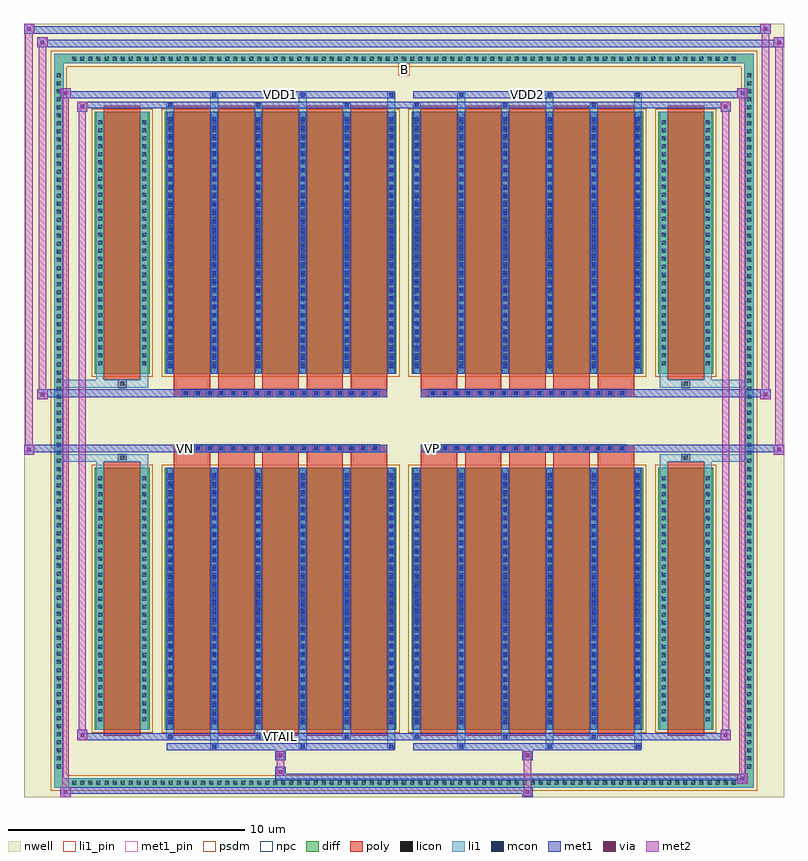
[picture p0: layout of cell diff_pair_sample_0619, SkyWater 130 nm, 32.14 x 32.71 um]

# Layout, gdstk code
import gdstk
lib = gdstk.Library(unit=1e-6, precision=5e-09)
def R(c, l, rs):  # rectangles x0, y0, x1, y1
    for r in rs: c.add(gdstk.rectangle(r[:2], r[2:], *l))
def A(c, l, x, y, w, h, nx, ny, dx, dy):  # array of equal rectangles
    R(c, l, [(x+i*dx, y+j*dy, x+i*dx+w, y+j*dy+h) for i in range(nx) for j in range(ny)])
def P(c, l, *ps):  # polygons
    for p in ps: c.add(gdstk.Polygon(p, *l))
nwell = (64, 20)
diff = (65, 20)
poly = (66, 20)
licon = (66, 44)
li1_pin = (67, 16)
li1 = (67, 20)
mcon = (67, 44)
met1_pin = (68, 16)
met1 = (68, 20)
via = (68, 44)
met2 = (69, 20)
psdm = (94, 20)
npc = (95, 20)

diff_pair_sample_0619 = lib.new_cell('diff_pair_sample_0619')
R(diff_pair_sample_0619, nwell, [(-16.07,-15.92,16.07,16.79), (-13.39,-14.11,-0.01,-0.805), (0.01,-14.11,13.39,-0.805), (-13.39,0.805,-0.01,14.11), (0.01,0.805,13.39,14.11)])
A(diff_pair_sample_0619, diff, -14.145, -15.52, 0.41, 0.41, 83, 2, 0.34, 30.63)
A(diff_pair_sample_0619, diff, -14.8, -14.825, 0.41, 0.41, 1, 87, 0, 0.34)
A(diff_pair_sample_0619, diff, 14.39, -14.825, 0.41, 0.41, 1, 87, 0, 0.34)
R(diff_pair_sample_0619, diff, [(-14.145,-15.52,14.145,-15.11), (-14.8,-14.825,-14.39,14.825), (14.39,-14.825,14.8,14.825), (-13.08,-13.065,-10.76,-1.985), (-10.12,-13.065,-0.32,-1.985), (0.32,-13.065,10.12,-1.985), (10.76,-13.065,13.08,-1.985), (-13.08,1.985,-10.76,13.065), (-10.12,1.985,-0.32,13.065), (0.32,1.985,10.12,13.065), (10.76,1.985,13.08,13.065), (-14.145,15.11,14.145,15.52)])
P(diff_pair_sample_0619, diff, [(14.8,15.52),(-14.8,15.52),(-14.8,-15.11),(-14.39,-15.11),(-14.39,15.11),(14.39,15.11),(14.39,-15.11),(-14.39,-15.11),(-14.8,-15.11),(-14.8,-15.52),(14.8,-15.52)])
A(diff_pair_sample_0619, poly, -9.73, -13.315, 1.54, 11.58, 5, 2, 1.87, 15.05)
A(diff_pair_sample_0619, poly, 0.71, -13.315, 1.54, 11.58, 5, 2, 1.87, 15.05)
A(diff_pair_sample_0619, poly, -9.73, -1.735, 1.54, 0.4, 5, 2, 1.87, 3.07)
A(diff_pair_sample_0619, poly, 0.71, -1.735, 1.54, 0.4, 5, 2, 1.87, 3.07)
A(diff_pair_sample_0619, poly, -9.385, -1.335, 0.33, 0.33, 17, 2, 0.5, 2.34)
A(diff_pair_sample_0619, poly, 1.055, -1.335, 0.33, 0.33, 17, 2, 0.5, 2.34)
R(diff_pair_sample_0619, poly, [(-12.69,-13.315,-11.15,-1.735), (11.15,-13.315,12.69,-1.735), (-12.085,-1.735,-11.755,-1.405), (-12.085,-1.735,-11.755,-1.405), (11.755,-1.735,12.085,-1.405), (11.755,-1.735,12.085,-1.405), (-9.73,-1.335,-0.71,-1.005), (0.71,-1.335,9.73,-1.005), (-9.73,1.005,-0.71,1.335), (0.71,1.005,9.73,1.335), (-12.085,1.405,-11.755,1.735), (-12.085,1.405,-11.755,1.735), (11.755,1.405,12.085,1.735), (11.755,1.405,12.085,1.735), (-12.69,1.735,-11.15,13.315), (11.15,1.735,12.69,13.315)])
A(diff_pair_sample_0619, licon, -14.025, -15.4, 0.17, 0.17, 83, 2, 0.34, 30.63)
A(diff_pair_sample_0619, licon, -14.68, -14.705, 0.17, 0.17, 1, 87, 0, 0.34)
A(diff_pair_sample_0619, licon, 14.51, -14.705, 0.17, 0.17, 1, 87, 0, 0.34)
A(diff_pair_sample_0619, licon, -12.94, -12.71, 0.17, 0.17, 1, 31, 0, 0.34)
A(diff_pair_sample_0619, licon, -11.07, -12.71, 0.17, 0.17, 1, 31, 0, 0.34)
A(diff_pair_sample_0619, licon, -9.98, -12.71, 0.17, 0.17, 6, 31, 1.87, 0.34)
A(diff_pair_sample_0619, licon, 0.46, -12.71, 0.17, 0.17, 6, 31, 1.87, 0.34)
A(diff_pair_sample_0619, licon, 10.9, -12.71, 0.17, 0.17, 1, 31, 0, 0.34)
A(diff_pair_sample_0619, licon, 12.77, -12.71, 0.17, 0.17, 1, 31, 0, 0.34)
A(diff_pair_sample_0619, licon, -9.305, -1.255, 0.17, 0.17, 17, 2, 0.5, 2.34)
A(diff_pair_sample_0619, licon, 1.135, -1.255, 0.17, 0.17, 17, 2, 0.5, 2.34)
A(diff_pair_sample_0619, licon, -12.94, 2.34, 0.17, 0.17, 1, 31, 0, 0.34)
A(diff_pair_sample_0619, licon, -11.07, 2.34, 0.17, 0.17, 1, 31, 0, 0.34)
A(diff_pair_sample_0619, licon, -9.98, 2.34, 0.17, 0.17, 6, 31, 1.87, 0.34)
A(diff_pair_sample_0619, licon, 0.46, 2.34, 0.17, 0.17, 6, 31, 1.87, 0.34)
A(diff_pair_sample_0619, licon, 10.9, 2.34, 0.17, 0.17, 1, 31, 0, 0.34)
A(diff_pair_sample_0619, licon, 12.77, 2.34, 0.17, 0.17, 1, 31, 0, 0.34)
R(diff_pair_sample_0619, licon, [(-12.005,-1.655,-11.835,-1.485), (11.835,-1.655,12.005,-1.485), (-12.005,1.485,-11.835,1.655), (11.835,1.485,12.005,1.655)])
R(diff_pair_sample_0619, li1_pin, [(-0.25,14.61,0.25,15.11)])
A(diff_pair_sample_0619, li1, -14.105, -15.48, 0.33, 0.33, 83, 2, 0.34, 30.63)
A(diff_pair_sample_0619, li1, -14.76, -14.785, 0.33, 0.33, 1, 87, 0, 0.34)
A(diff_pair_sample_0619, li1, 14.43, -14.785, 0.33, 0.33, 1, 87, 0, 0.34)
A(diff_pair_sample_0619, li1, -8.19, -13.87, 0.33, 0.805, 3, 2, 3.74, 26.935)
A(diff_pair_sample_0619, li1, -8.11, -13.87, 0.17, 0.17, 3, 2, 3.74, 27.57)
A(diff_pair_sample_0619, li1, 2.25, -13.87, 0.33, 0.805, 3, 2, 3.74, 26.935)
A(diff_pair_sample_0619, li1, 2.33, -13.87, 0.17, 0.17, 3, 2, 3.74, 27.57)
A(diff_pair_sample_0619, li1, -10.06, -13.44, 0.33, 0.375, 3, 2, 3.74, 26.505)
A(diff_pair_sample_0619, li1, -9.98, -13.44, 0.17, 0.17, 3, 2, 3.74, 26.71)
A(diff_pair_sample_0619, li1, 0.38, -13.44, 0.33, 0.375, 3, 2, 3.74, 26.505)
A(diff_pair_sample_0619, li1, 0.46, -13.44, 0.17, 0.17, 3, 2, 3.74, 26.71)
A(diff_pair_sample_0619, li1, -10.06, -13.065, 0.33, 11.08, 6, 2, 1.87, 15.05)
A(diff_pair_sample_0619, li1, 0.38, -13.065, 0.33, 11.08, 6, 2, 1.87, 15.05)
A(diff_pair_sample_0619, li1, -9.98, -12.83, 0.17, 0.17, 6, 30, 1.87, 0.36)
A(diff_pair_sample_0619, li1, -9.98, -12.83, 0.17, 10.61, 6, 2, 1.87, 15.05)
A(diff_pair_sample_0619, li1, 0.46, -12.83, 0.17, 0.17, 6, 30, 1.87, 0.36)
A(diff_pair_sample_0619, li1, 0.46, -12.83, 0.17, 10.61, 6, 2, 1.87, 15.05)
A(diff_pair_sample_0619, li1, -13.02, -12.79, 0.33, 0.33, 1, 31, 0, 0.34)
A(diff_pair_sample_0619, li1, -11.15, -12.79, 0.33, 0.33, 1, 31, 0, 0.34)
A(diff_pair_sample_0619, li1, -10.06, -12.79, 0.33, 0.33, 6, 31, 1.87, 0.34)
A(diff_pair_sample_0619, li1, 0.38, -12.79, 0.33, 0.33, 6, 31, 1.87, 0.34)
A(diff_pair_sample_0619, li1, 10.82, -12.79, 0.33, 0.33, 1, 31, 0, 0.34)
A(diff_pair_sample_0619, li1, 12.69, -12.79, 0.33, 0.33, 1, 31, 0, 0.34)
A(diff_pair_sample_0619, li1, -9.385, -1.335, 0.33, 0.33, 17, 2, 0.5, 2.34)
A(diff_pair_sample_0619, li1, 1.055, -1.335, 0.33, 0.33, 17, 2, 0.5, 2.34)
A(diff_pair_sample_0619, li1, -9.98, 2.22, 0.17, 0.17, 6, 30, 1.87, 0.36)
A(diff_pair_sample_0619, li1, 0.46, 2.22, 0.17, 0.17, 6, 30, 1.87, 0.36)
A(diff_pair_sample_0619, li1, -13.02, 2.26, 0.33, 0.33, 1, 31, 0, 0.34)
A(diff_pair_sample_0619, li1, -11.15, 2.26, 0.33, 0.33, 1, 31, 0, 0.34)
A(diff_pair_sample_0619, li1, -10.06, 2.26, 0.33, 0.33, 6, 31, 1.87, 0.34)
A(diff_pair_sample_0619, li1, 0.38, 2.26, 0.33, 0.33, 6, 31, 1.87, 0.34)
A(diff_pair_sample_0619, li1, 10.82, 2.26, 0.33, 0.33, 1, 31, 0, 0.34)
A(diff_pair_sample_0619, li1, 12.69, 2.26, 0.33, 0.33, 1, 31, 0, 0.34)
R(diff_pair_sample_0619, li1, [(-14.8,-15.52,-14.39,-15.11), (-14.8,-15.52,-14.39,-15.11), (-14.39,-15.52,14.39,-15.11), (14.39,-15.52,14.8,-15.11), (14.39,-15.52,14.8,-15.11), (-14.8,-15.11,-14.39,15.11), (14.39,-15.11,14.8,15.11), (-13.02,-13.065,-12.69,-1.985), (-11.15,-13.065,-10.82,-1.985), (10.82,-13.065,11.15,-1.985), (12.69,-13.065,13.02,-1.985), (-13.02,-1.985,-12.69,-1.405), (-11.15,-1.985,-10.82,-1.405), (10.82,-1.985,11.15,-1.405), (12.69,-1.985,13.02,-1.405), (-14.8,-1.735,-12.085,-1.405), (-13.02,-1.735,-12.085,-1.405), (-12.085,-1.735,-11.755,-1.405), (-11.755,-1.735,-10.82,-1.405), (10.82,-1.735,11.755,-1.405), (11.755,-1.735,12.085,-1.405), (11.755,-1.735,14.8,-1.405), (12.085,-1.735,13.02,-1.405), (-14.8,1.405,-12.085,1.735), (-13.02,1.405,-12.085,1.735), (-13.02,1.405,-12.69,1.985), (-12.085,1.405,-11.755,1.735), (-11.755,1.405,-10.82,1.735), (-11.15,1.405,-10.82,1.985), (10.82,1.405,11.755,1.735), (10.82,1.405,11.15,1.985), (11.755,1.405,12.085,1.735), (11.755,1.405,14.8,1.735), (12.085,1.405,13.02,1.735), (12.69,1.405,13.02,1.985), (-13.02,1.985,-12.69,13.065), (-11.15,1.985,-10.82,13.065), (10.82,1.985,11.15,13.065), (12.69,1.985,13.02,13.065), (-14.8,15.11,-14.39,15.52), (-14.8,15.11,-14.39,15.52), (-14.39,15.11,14.39,15.52), (14.39,15.11,14.8,15.52), (14.39,15.11,14.8,15.52)])
A(diff_pair_sample_0619, mcon, -8.11, -13.87, 0.17, 0.17, 3, 2, 3.74, 27.57)
A(diff_pair_sample_0619, mcon, 2.33, -13.87, 0.17, 0.17, 3, 2, 3.74, 27.57)
A(diff_pair_sample_0619, mcon, -9.98, -13.44, 0.17, 0.17, 3, 2, 3.74, 26.71)
A(diff_pair_sample_0619, mcon, 0.46, -13.44, 0.17, 0.17, 3, 2, 3.74, 26.71)
A(diff_pair_sample_0619, mcon, -9.98, -12.83, 0.17, 0.17, 6, 30, 1.87, 0.36)
A(diff_pair_sample_0619, mcon, 0.46, -12.83, 0.17, 0.17, 6, 30, 1.87, 0.36)
A(diff_pair_sample_0619, mcon, -9.305, -1.255, 0.17, 0.17, 17, 2, 0.5, 2.34)
A(diff_pair_sample_0619, mcon, 1.135, -1.255, 0.17, 0.17, 17, 2, 0.5, 2.34)
A(diff_pair_sample_0619, mcon, -9.98, 2.22, 0.17, 0.17, 6, 30, 1.87, 0.36)
A(diff_pair_sample_0619, mcon, 0.46, 2.22, 0.17, 0.17, 6, 30, 1.87, 0.36)
R(diff_pair_sample_0619, met1_pin, [(-5.355,-13.48,-5.085,-13.21), (-9.355,-1.295,-9.085,-1.025), (1.085,-1.295,1.355,-1.025), (-5.355,13.66,-5.085,13.93), (5.085,13.66,5.355,13.93)])
A(diff_pair_sample_0619, met1, -8.17, -13.93, 0.29, 0.29, 3, 2, 3.74, 27.57)
A(diff_pair_sample_0619, met1, 2.27, -13.93, 0.29, 0.29, 3, 2, 3.74, 27.57)
A(diff_pair_sample_0619, met1, -10.04, -13.5, 0.29, 0.29, 3, 2, 3.74, 26.71)
A(diff_pair_sample_0619, met1, 0.4, -13.5, 0.29, 0.29, 3, 2, 3.74, 26.71)
A(diff_pair_sample_0619, met1, -10.04, -13.065, 0.29, 11.08, 6, 2, 1.87, 15.05)
A(diff_pair_sample_0619, met1, 0.4, -13.065, 0.29, 11.08, 6, 2, 1.87, 15.05)
A(diff_pair_sample_0619, met1, -10.04, -12.89, 0.29, 0.29, 6, 30, 1.87, 0.36)
A(diff_pair_sample_0619, met1, 0.4, -12.89, 0.29, 0.29, 6, 30, 1.87, 0.36)
A(diff_pair_sample_0619, met1, -9.365, -1.315, 0.29, 0.29, 17, 2, 0.5, 2.34)
A(diff_pair_sample_0619, met1, 1.075, -1.315, 0.29, 0.29, 17, 2, 0.5, 2.34)
A(diff_pair_sample_0619, met1, -10.04, 2.16, 0.29, 0.29, 6, 30, 1.87, 0.36)
A(diff_pair_sample_0619, met1, 0.4, 2.16, 0.29, 0.29, 6, 30, 1.87, 0.36)
R(diff_pair_sample_0619, met1, [(-14.53,-15.92,-14.1,-15.49), (5.005,-15.92,5.435,-15.49), (-14.53,-15.78,5.435,-15.49), (14.1,-15.35,14.53,-14.92), (-5.435,-15.21,14.53,-14.92), (-5.435,-15.07,-5.005,-14.64), (-5.435,-14.36,-5.005,-13.93), (5.005,-14.36,5.435,-13.93), (-10.04,-13.93,-0.4,-13.64), (0.4,-13.93,10.04,-13.64), (-13.82,-13.5,-13.39,-13.07), (-13.82,-13.5,-10.04,-13.21), (-10.04,-13.5,-0.4,-13.21), (-0.4,-13.5,0.4,-13.21), (0.4,-13.5,10.04,-13.21), (10.04,-13.5,13.82,-13.21), (13.39,-13.5,13.82,-13.07), (-16.07,-1.435,-15.64,-1.005), (15.64,-1.435,16.07,-1.005), (-16.07,-1.335,-0.71,-1.005), (-9.73,-1.335,-0.71,-1.005), (0.71,-1.335,9.73,-1.005), (0.71,-1.335,16.07,-1.005), (-15.5,0.905,-15.07,1.335), (15.07,0.905,15.5,1.335), (-15.5,1.005,-9.73,1.335), (-9.73,1.005,-0.71,1.335), (0.71,1.005,9.73,1.335), (9.73,1.005,15.5,1.335), (-13.82,13.07,-13.39,13.5), (13.39,13.07,13.82,13.5), (-13.82,13.21,-10.04,13.5), (-10.04,13.21,-0.4,13.5), (-0.4,13.21,0.4,13.5), (0.4,13.21,10.04,13.5), (10.04,13.21,13.82,13.5), (-14.53,13.64,-14.1,14.07), (-14.53,13.64,-10.04,13.93), (-10.04,13.64,-0.4,13.93), (0.4,13.64,10.04,13.93), (10.04,13.64,14.53,13.93), (14.1,13.64,14.53,14.07), (-15.5,15.79,-15.07,16.22), (-15.5,15.79,-13.39,16.12), (-13.39,15.79,13.39,16.12), (13.39,15.79,16.07,16.12), (15.64,15.79,16.07,16.22), (-16.07,16.36,-15.64,16.79), (-16.07,16.36,-13.39,16.69), (-13.39,16.36,13.39,16.69), (13.39,16.36,15.5,16.69), (15.07,16.36,15.5,16.79)])
R(diff_pair_sample_0619, via, [(-14.39,-15.78,-14.24,-15.63), (5.145,-15.78,5.295,-15.63), (14.24,-15.21,14.39,-15.06), (-5.295,-14.93,-5.145,-14.78), (-5.295,-14.22,-5.145,-14.07), (5.145,-14.22,5.295,-14.07), (-13.68,-13.36,-13.53,-13.21), (13.53,-13.36,13.68,-13.21), (-15.93,-1.295,-15.78,-1.145), (15.78,-1.295,15.93,-1.145), (-15.36,1.045,-15.21,1.195), (15.21,1.045,15.36,1.195), (-13.68,13.21,-13.53,13.36), (13.53,13.21,13.68,13.36), (-14.39,13.78,-14.24,13.93), (14.24,13.78,14.39,13.93), (-15.36,15.93,-15.21,16.08), (15.78,15.93,15.93,16.08), (-15.93,16.5,-15.78,16.65), (15.21,16.5,15.36,16.65)])
R(diff_pair_sample_0619, met2, [(-14.53,-15.92,-14.1,-15.49), (-14.46,-15.92,-14.17,14.07), (-14.17,-15.92,-14.1,-15.49), (-14.48,-15.87,-14.15,-15.54), (5.055,-15.87,5.385,-15.54), (5.055,-15.54,5.385,-14.31), (14.1,-15.35,14.53,-14.92), (14.17,-15.35,14.46,14.07), (14.46,-15.35,14.53,-14.92), (14.15,-15.3,14.48,-14.97), (-5.385,-15.02,-5.055,-14.69), (-5.385,-14.69,-5.055,-14.31), (-5.385,-14.31,-5.055,-13.98), (5.055,-14.31,5.385,-13.98), (-13.82,-13.5,-13.39,-13.07), (-13.75,-13.5,-13.46,13.5), (-13.46,-13.5,-13.39,-13.07), (13.39,-13.5,13.82,-13.07), (13.46,-13.5,13.75,13.5), (13.75,-13.5,13.82,-13.07), (-13.77,-13.45,-13.44,-13.12), (13.44,-13.45,13.77,-13.12), (-16.07,-1.435,-15.64,-1.005), (-16.02,-1.435,-15.69,16.79), (-15.69,-1.435,-15.64,-1.005), (15.64,-1.435,16.07,-1.005), (15.69,-1.435,16.02,16.22), (16.02,-1.435,16.07,-1.005), (-16.02,-1.385,-15.69,-1.055), (15.69,-1.385,16.02,-1.055), (-15.5,0.905,-15.07,1.335), (-15.45,0.905,-15.12,16.22), (-15.12,0.905,-15.07,1.335), (15.07,0.905,15.5,1.335), (15.12,0.905,15.45,16.79), (15.45,0.905,15.5,1.335), (-15.45,0.955,-15.12,1.285), (15.12,0.955,15.45,1.285), (-13.82,13.07,-13.39,13.5), (-13.46,13.07,-13.39,13.5), (13.39,13.07,13.82,13.5), (13.75,13.07,13.82,13.5), (-13.77,13.12,-13.44,13.45), (13.44,13.12,13.77,13.45), (-14.53,13.64,-14.1,14.07), (-14.17,13.64,-14.1,14.07), (14.1,13.64,14.53,14.07), (14.46,13.64,14.53,14.07), (-14.48,13.69,-14.15,14.02), (14.15,13.69,14.48,14.02), (-15.5,15.79,-15.07,16.22), (-15.12,15.79,-15.07,16.22), (15.64,15.79,16.07,16.22), (16.02,15.79,16.07,16.22), (-15.45,15.84,-15.12,16.17), (15.69,15.84,16.02,16.17), (-16.07,16.36,-15.64,16.79), (-15.69,16.36,-15.64,16.79), (15.07,16.36,15.5,16.79), (15.45,16.36,15.5,16.79), (-16.02,16.41,-15.69,16.74), (15.12,16.41,15.45,16.74)])
R(diff_pair_sample_0619, psdm, [(-13.21,-13.195,-10.63,-1.855), (-10.25,-13.195,-0.19,-1.855), (0.19,-13.195,10.25,-1.855), (10.63,-13.195,13.21,-1.855), (-13.21,1.855,-10.63,13.195), (-10.25,1.855,-0.19,13.195), (0.19,1.855,10.25,13.195), (10.63,1.855,13.21,13.195)])
P(diff_pair_sample_0619, psdm, [(14.93,15.65),(-14.93,15.65),(-14.93,-14.98),(-14.26,-14.98),(-14.26,14.98),(14.26,14.98),(14.26,-14.98),(-14.26,-14.98),(-14.93,-14.98),(-14.93,-15.65),(14.93,-15.65)])
A(diff_pair_sample_0619, npc, -9.405, -1.355, 0.37, 0.37, 17, 2, 0.5, 2.34)
A(diff_pair_sample_0619, npc, 1.035, -1.355, 0.37, 0.37, 17, 2, 0.5, 2.34)
R(diff_pair_sample_0619, npc, [(-12.105,-1.755,-11.735,-1.385), (11.735,-1.755,12.105,-1.385), (-9.405,-1.355,-8.535,-0.985), (-9.405,-1.355,-8.535,-0.985), (-8.905,-1.355,-8.035,-0.985), (-8.905,-1.355,-8.035,-0.985), (-8.405,-1.355,-7.535,-0.985), (-8.405,-1.355,-7.535,-0.985), (-7.905,-1.355,-7.035,-0.985), (-7.905,-1.355,-7.035,-0.985), (-7.405,-1.355,-6.535,-0.985), (-7.405,-1.355,-6.535,-0.985), (-6.905,-1.355,-6.035,-0.985), (-6.905,-1.355,-6.035,-0.985), (-6.405,-1.355,-5.535,-0.985), (-6.405,-1.355,-5.535,-0.985), (-5.905,-1.355,-5.035,-0.985), (-5.905,-1.355,-5.035,-0.985), (-5.405,-1.355,-4.535,-0.985), (-5.405,-1.355,-4.535,-0.985), (-4.905,-1.355,-4.035,-0.985), (-4.905,-1.355,-4.035,-0.985), (-4.405,-1.355,-3.535,-0.985), (-4.405,-1.355,-3.535,-0.985), (-3.905,-1.355,-3.035,-0.985), (-3.905,-1.355,-3.035,-0.985), (-3.405,-1.355,-2.535,-0.985), (-3.405,-1.355,-2.535,-0.985), (-2.905,-1.355,-2.035,-0.985), (-2.905,-1.355,-2.035,-0.985), (-2.405,-1.355,-1.535,-0.985), (-2.405,-1.355,-1.535,-0.985), (-1.905,-1.355,-1.035,-0.985), (-1.905,-1.355,-1.035,-0.985), (1.035,-1.355,1.905,-0.985), (1.035,-1.355,1.905,-0.985), (1.535,-1.355,2.405,-0.985), (1.535,-1.355,2.405,-0.985), (2.035,-1.355,2.905,-0.985), (2.035,-1.355,2.905,-0.985), (2.535,-1.355,3.405,-0.985), (2.535,-1.355,3.405,-0.985), (3.035,-1.355,3.905,-0.985), (3.035,-1.355,3.905,-0.985), (3.535,-1.355,4.405,-0.985), (3.535,-1.355,4.405,-0.985), (4.035,-1.355,4.905,-0.985), (4.035,-1.355,4.905,-0.985), (4.535,-1.355,5.405,-0.985), (4.535,-1.355,5.405,-0.985), (5.035,-1.355,5.905,-0.985), (5.035,-1.355,5.905,-0.985), (5.535,-1.355,6.405,-0.985), (5.535,-1.355,6.405,-0.985), (6.035,-1.355,6.905,-0.985), (6.035,-1.355,6.905,-0.985), (6.535,-1.355,7.405,-0.985), (6.535,-1.355,7.405,-0.985), (7.035,-1.355,7.905,-0.985), (7.035,-1.355,7.905,-0.985), (7.535,-1.355,8.405,-0.985), (7.535,-1.355,8.405,-0.985), (8.035,-1.355,8.905,-0.985), (8.035,-1.355,8.905,-0.985), (8.535,-1.355,9.405,-0.985), (8.535,-1.355,9.405,-0.985), (-9.405,0.985,-8.535,1.355), (-9.405,0.985,-8.535,1.355), (-8.905,0.985,-8.035,1.355), (-8.905,0.985,-8.035,1.355), (-8.405,0.985,-7.535,1.355), (-8.405,0.985,-7.535,1.355), (-7.905,0.985,-7.035,1.355), (-7.905,0.985,-7.035,1.355), (-7.405,0.985,-6.535,1.355), (-7.405,0.985,-6.535,1.355), (-6.905,0.985,-6.035,1.355), (-6.905,0.985,-6.035,1.355), (-6.405,0.985,-5.535,1.355), (-6.405,0.985,-5.535,1.355), (-5.905,0.985,-5.035,1.355), (-5.905,0.985,-5.035,1.355), (-5.405,0.985,-4.535,1.355), (-5.405,0.985,-4.535,1.355), (-4.905,0.985,-4.035,1.355), (-4.905,0.985,-4.035,1.355), (-4.405,0.985,-3.535,1.355), (-4.405,0.985,-3.535,1.355), (-3.905,0.985,-3.035,1.355), (-3.905,0.985,-3.035,1.355), (-3.405,0.985,-2.535,1.355), (-3.405,0.985,-2.535,1.355), (-2.905,0.985,-2.035,1.355), (-2.905,0.985,-2.035,1.355), (-2.405,0.985,-1.535,1.355), (-2.405,0.985,-1.535,1.355), (-1.905,0.985,-1.035,1.355), (-1.905,0.985,-1.035,1.355), (1.035,0.985,1.905,1.355), (1.035,0.985,1.905,1.355), (1.535,0.985,2.405,1.355), (1.535,0.985,2.405,1.355), (2.035,0.985,2.905,1.355), (2.035,0.985,2.905,1.355), (2.535,0.985,3.405,1.355), (2.535,0.985,3.405,1.355), (3.035,0.985,3.905,1.355), (3.035,0.985,3.905,1.355), (3.535,0.985,4.405,1.355), (3.535,0.985,4.405,1.355), (4.035,0.985,4.905,1.355), (4.035,0.985,4.905,1.355), (4.535,0.985,5.405,1.355), (4.535,0.985,5.405,1.355), (5.035,0.985,5.905,1.355), (5.035,0.985,5.905,1.355), (5.535,0.985,6.405,1.355), (5.535,0.985,6.405,1.355), (6.035,0.985,6.905,1.355), (6.035,0.985,6.905,1.355), (6.535,0.985,7.405,1.355), (6.535,0.985,7.405,1.355), (7.035,0.985,7.905,1.355), (7.035,0.985,7.905,1.355), (7.535,0.985,8.405,1.355), (7.535,0.985,8.405,1.355), (8.035,0.985,8.905,1.355), (8.035,0.985,8.905,1.355), (8.535,0.985,9.405,1.355), (8.535,0.985,9.405,1.355), (-12.105,1.385,-11.735,1.755), (11.735,1.385,12.105,1.755)])
diff_pair_sample_0619.add(gdstk.Label('VTAIL', (-5.22,-13.345), layer=68, texttype=5))
diff_pair_sample_0619.add(gdstk.Label('VN', (-9.22,-1.16), layer=68, texttype=5))
diff_pair_sample_0619.add(gdstk.Label('VP', (1.22,-1.16), layer=68, texttype=5))
diff_pair_sample_0619.add(gdstk.Label('B', (0,14.86), layer=67, texttype=5))
diff_pair_sample_0619.add(gdstk.Label('VDD2', (5.22,13.795), layer=68, texttype=5))
diff_pair_sample_0619.add(gdstk.Label('VDD1', (-5.22,13.795), layer=68, texttype=5))

lib.write_gds('diff_pair_sample_0619.gds')
